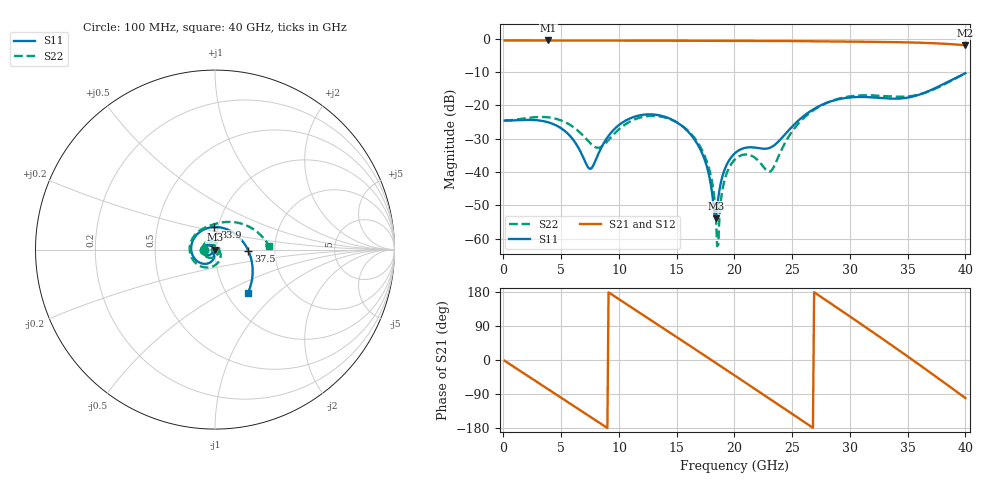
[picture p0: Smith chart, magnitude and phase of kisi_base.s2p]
! B_ts6_L1L6: ThunderScope stack: L1→B.Cu, no stub
! stackup: ThunderScope Rev5.3 6-layer (FR408HR / FR-4, from the board file)
! ports: 1, 2
! kisi-fdtd, conformal, dfine 0.035 mm, 548856 cells
# Hz S RI R 50
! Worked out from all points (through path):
!   400 points, 100 MHz to 40 GHz, reference 50 ohm
!   highest |S21| = -0.54 dB at 3.9 GHz (marker M1); lowest = -2.0 dB at 40 GHz (marker M2)
!   group delay of S21, straight-line fit = 56.6 ps
!   lowest |S11| = -53.8 dB at 18.4 GHz (marker M3), VSWR 1.00, Z = 49.8 - j0.048 ohm
!   |S11| at or under -10 dB: start of sweep to end of sweep
!   |S22| runs from -62.2 to -10.4 dB; largest |S21 - S12| = 8.2e-06
!   S11 on the Smith chart (normalised r, x): 100 MHz: 0.89, +0.00; 33.9 GHz: 0.96, +0.25; 37.5 GHz: 1.45, -0.02; 40 GHz: 1.25, -0.67
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1e8  -0.0591 0.000311  0.9389 -0.0326  0.9389 -0.0326  -0.0592 0.000379
3.9e9  -0.0504 0.0234  0.2004 -0.9183  0.2004 -0.9183  -0.0526 0.0399
6.8e9  -0.0142 0.0113  -0.6706 -0.6574  -0.6706 -0.6574  0.011 0.0349
7.6e9  -0.0111 -0.0022  -0.8251 -0.4472  -0.8251 -0.4472  0.0216 0.0149
9.9e9  -0.0373 -0.0318  -0.8934 0.2811  -0.8934 0.2811  -0.00497 -0.0419
1.34e10  -0.0696 0.0159  -0.0419 0.9332  -0.0419 0.9332  -0.0684 0.00672
1.7e10  -0.00814 0.0212  0.8747 0.3236  0.8747 0.3236  -0.00266 0.0245
1.79e10  -0.00216 0.00709  0.9316 0.0351  0.9316 0.0351  0.00246 0.0094
1.84e10  -0.00198 -0.000482  0.923 -0.1286  0.923 -0.1286  0.00119 0.00177
1.85e10  -0.00218 -0.00189  0.9178 -0.1611  0.9178 -0.1611  0.00064 0.000436
1.86e10  -0.00244 -0.00324  0.9115 -0.1933  0.9115 -0.1933  8.09e-06 -0.000818
1.87e10  -0.00276 -0.00455  0.904 -0.2253  0.904 -0.2253  -0.000699 -0.00199
1.9e10  -0.00406 -0.00812  0.875 -0.3195  0.875 -0.3195  -0.0032 -0.00493
2.01e10  -0.0109 -0.0162  0.6877 -0.6266  0.6877 -0.6266  -0.0138 -0.00763
2.32e10  -0.00923 -0.0218  -0.2453 -0.8918  -0.2453 -0.8918  0.00552 0.00895
2.67e10  -0.0365 -0.076  -0.9133 -0.0481  -0.9133 -0.0481  0.00835 -0.0808
3.03e10  -0.1326 0.000715  -0.2893 0.8545  -0.2893 0.8545  -0.133 -0.0387
3.34e10  -0.0343 0.1217  0.6438 0.6137  0.6438 0.6137  -0.0931 0.0997
3.39e10  -0.00444 0.1258  0.7437 0.4827  0.7437 0.4828  -0.0748 0.1125
3.57e10  0.1034 0.0935  0.8687 -0.0868  0.8687 -0.0868  -0.00371 0.1416
3.75e10  0.1852 -0.00503  0.601 -0.6018  0.601 -0.6018  0.0959 0.1539
4e10  0.1836 -0.2418  -0.1451 -0.7836  -0.1451 -0.7836  0.3019 0.0197
